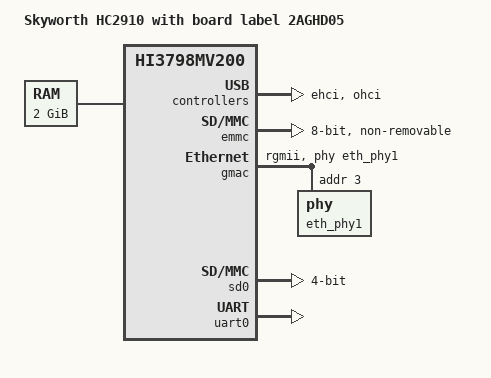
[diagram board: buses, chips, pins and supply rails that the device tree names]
// SPDX-License-Identifier: GPL-2.0
/*
 * DTS File for Skyworth HC2910 with board label 2AGHD05 set-top box.
 *
 * Released under the GPLv2 only.
 */

/dts-v1/;

#include "hi3798mv200.dtsi"

/ {
	// Usually known as Henan Guangdian HC2910
	model = "Skyworth HC2910 with board label 2AGHD05";
	compatible = "skyworth,hc2910-2aghd05", "hisilicon,hi3798mv200";

	aliases {
		serial0 = &uart0;
	};

	chosen {
		stdout-path = "serial0:115200n8";
	};

	memory@0 {
		device_type = "memory";
		reg = <0x0 0x0 0x0 0x80000000>;
	};
};

&ehci {
	status = "okay";
};

&emmc {
	fifo-depth = <256>;
	clock-frequency = <200000000>;
	cap-mmc-highspeed;
	mmc-ddr-1_8v;
	mmc-hs200-1_8v;
	non-removable;
	bus-width = <8>;
	status = "okay";
};

&gmac {
	status = "okay";
	#address-cells = <1>;
	#size-cells = <0>;
	phy-handle = <&eth_phy1>;
	phy-mode = "rgmii";
	hisilicon,phy-reset-delays-us = <10000 10000 30000>;

	eth_phy1: phy@3 {
		reg = <3>;
	};
};

&ohci {
	status = "okay";
};

&sd0 {
	bus-width = <4>;
	cap-sd-highspeed;
	status = "okay";
};

&uart0 {
	status = "okay";
};
